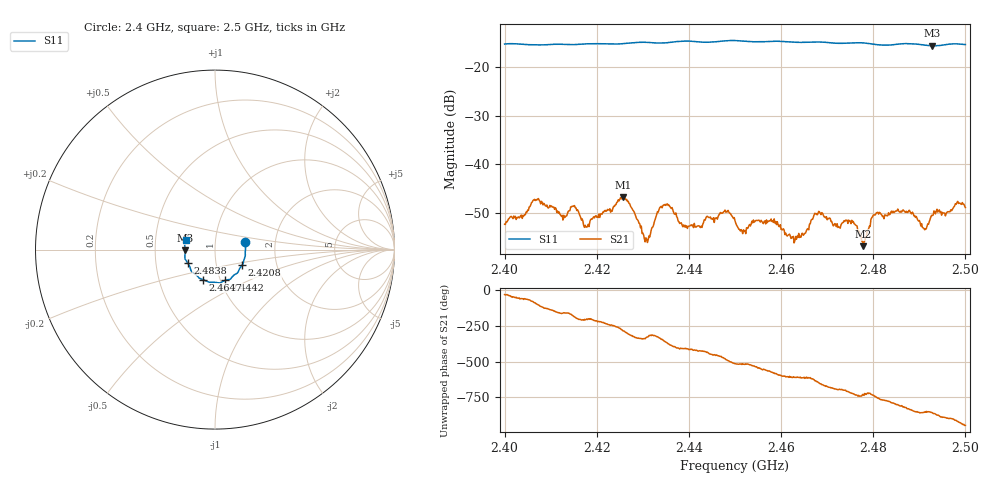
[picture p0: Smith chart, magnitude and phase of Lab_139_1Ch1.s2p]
# Hz S RI R 50
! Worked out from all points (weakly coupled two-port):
!   601 points, 2.4 GHz to 2.5 GHz, reference 50 ohm
!   highest |S21| = -46.76 dB at 2.4257 GHz (marker M1); lowest = -56.9 dB at 2.4778 GHz (marker M2)
!   lowest |S11| = -15.6 dB at 2.4928 GHz (marker M3), VSWR 1.40, Z = 35.8 - j0.355 ohm
!   |S11| at or under -10 dB: start of sweep to end of sweep
!   S12 and S22 are empty: the file has one direction only
!   S11 on the Smith chart (normalised r, x): 2.4 GHz: 1.40, +0.12; 2.4208 GHz: 1.33, -0.24; 2.4442 GHz: 1.05, -0.37; 2.4647 GHz: 0.83, -0.29; 2.4838 GHz: 0.73, -0.11; 2.5 GHz: 0.72, +0.08
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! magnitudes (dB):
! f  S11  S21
! 2.4 GHz  -15.3  -52.4
! 2.4068 GHz  -15.4  -47.3
! 2.4167 GHz  -15.2  -51.5
! 2.4208 GHz  -15.2  -50.2
! 2.4257 GHz  -15.2  -46.8
! 2.4307 GHz  -14.9  -55.2
! 2.4333 GHz  -15.0  -49.9
! 2.4357 GHz  -14.9  -48.4
! 2.4392 GHz  -14.6  -52.6
! 2.4442 GHz  -14.9  -50.9
! 2.45 GHz  -14.5  -51.7
! 2.4647 GHz  -14.9  -54.2
! 2.4667 GHz  -14.8  -51.4
! 2.4752 GHz  -15.0  -52.2
! 2.4778 GHz  -15.0  -56.9
! 2.4802 GHz  -15.3  -50.4
! 2.4833 GHz  -15.5  -50.0
! 2.4838 GHz  -15.4  -49.9
! 2.4882 GHz  -15.2  -50.1
! 2.4912 GHz  -15.5  -53.5
! 2.4928 GHz  -15.6  -50.6
! 2.5 GHz  -15.3  -48.9
